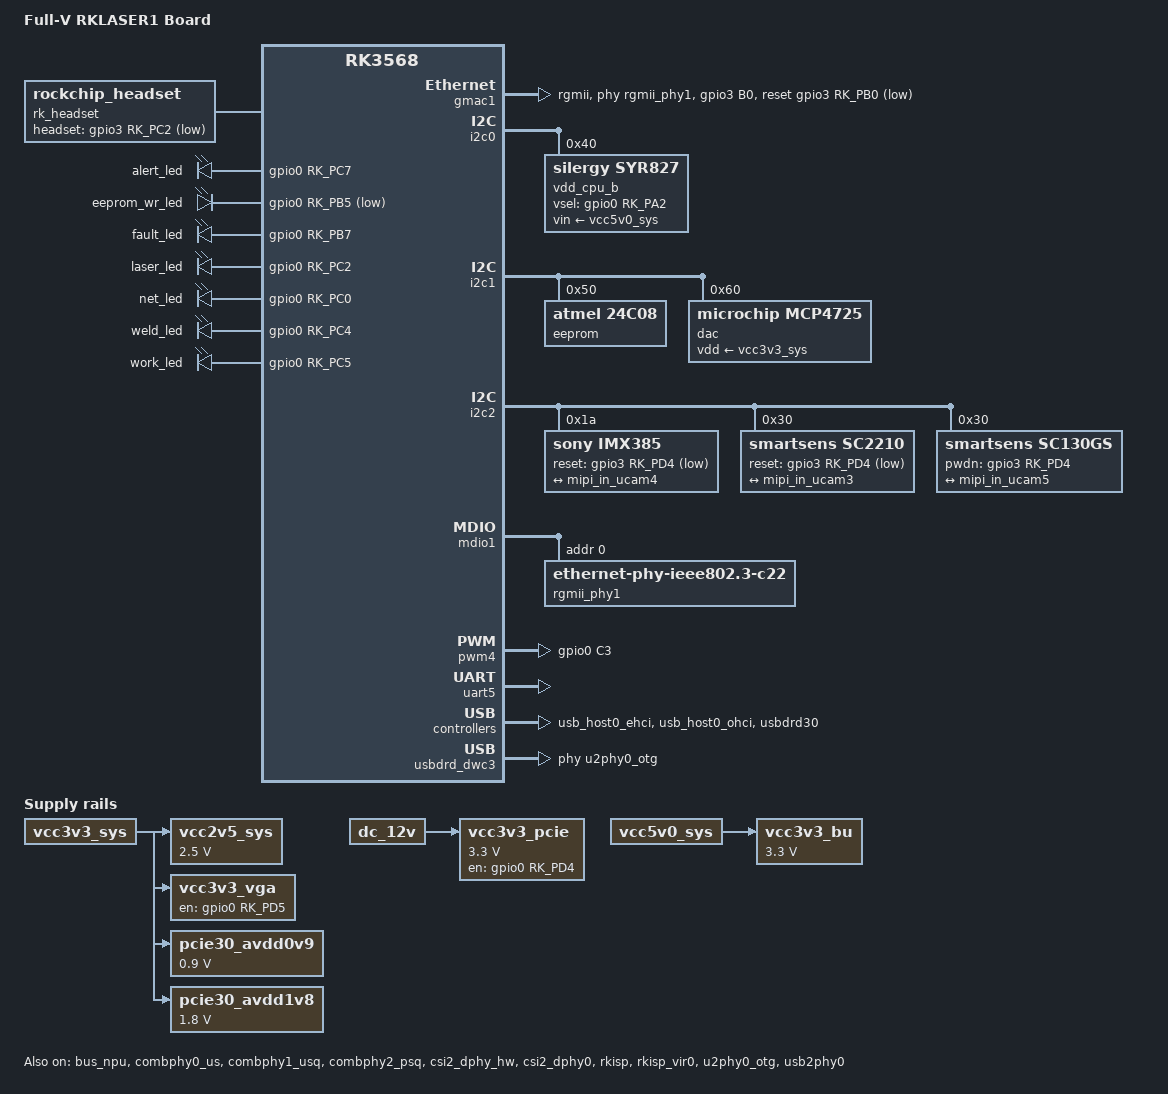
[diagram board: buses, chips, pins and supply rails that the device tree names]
// SPDX-License-Identifier: (GPL-2.0+ OR MIT)
/*
 * Copyright (c) 2020 Rockchip Electronics Co., Ltd.
 *
 */

/dts-v1/;

#include <dt-bindings/gpio/gpio.h>
#include <dt-bindings/pinctrl/rockchip.h>
#include "rk3568.dtsi"
#include "rk3568-evb.dtsi"

/ {
	model = "Full-V RKLASER1 Board";
	compatible = "fullv,rklaser1", "rockchip,rk3568-evb1-ddr4-v10", "rockchip,rk3568";

	rk_headset: rk-headset {
		compatible = "rockchip_headset";
		headset_gpio = <&gpio3 RK_PC2 GPIO_ACTIVE_LOW>;
		pinctrl-names = "default";
		pinctrl-0 = <&hp_det>;
	};

	vcc2v5_sys: vcc2v5-ddr {
		compatible = "regulator-fixed";
		regulator-name = "vcc2v5-sys";
		regulator-always-on;
		regulator-boot-on;
		regulator-min-microvolt = <2500000>;
		regulator-max-microvolt = <2500000>;
		vin-supply = <&vcc3v3_sys>;
	};

	vcc3v3_vga: vcc3v3-vga {
		compatible = "regulator-fixed";
		regulator-name = "vcc3v3_vga";
		regulator-always-on;
		regulator-boot-on;
		gpio = <&gpio0 RK_PD5 GPIO_ACTIVE_HIGH>;
		enable-active-high;
		vin-supply = <&vcc3v3_sys>;
	};

	pcie30_avdd0v9: pcie30-avdd0v9 {
		compatible = "regulator-fixed";
		regulator-name = "pcie30_avdd0v9";
		regulator-always-on;
		regulator-boot-on;
		regulator-min-microvolt = <900000>;
		regulator-max-microvolt = <900000>;
		vin-supply = <&vcc3v3_sys>;
	};

	pcie30_avdd1v8: pcie30-avdd1v8 {
		compatible = "regulator-fixed";
		regulator-name = "pcie30_avdd1v8";
		regulator-always-on;
		regulator-boot-on;
		regulator-min-microvolt = <1800000>;
		regulator-max-microvolt = <1800000>;
		vin-supply = <&vcc3v3_sys>;
	};

	vcc3v3_pcie: gpio-regulator {
		compatible = "regulator-fixed";
		regulator-name = "vcc3v3_pcie";
		regulator-min-microvolt = <3300000>;
		regulator-max-microvolt = <3300000>;
		enable-active-high;
		gpio = <&gpio0 RK_PD4 GPIO_ACTIVE_HIGH>;
		startup-delay-us = <5000>;
		vin-supply = <&dc_12v>;
	};

	vcc3v3_bu: vcc3v3-bu {
		compatible = "regulator-fixed";
		regulator-name = "vcc3v3_bu";
		regulator-always-on;
		regulator-boot-on;
		regulator-min-microvolt = <3300000>;
		regulator-max-microvolt = <3300000>;
		vin-supply = <&vcc5v0_sys>;
	};

	/delete-node/ vcc3v3-lcd0-n;
	/delete-node/ vcc3v3-lcd1-n;

	leds: leds {
		compatible = "gpio-leds";

		alert_led: alert {
			gpios = <&gpio0 RK_PC7 GPIO_ACTIVE_HIGH>;
			default-state = "off";
		};

		eeprom_wr_led: eeprom_wr {
			gpios = <&gpio0 RK_PB5 GPIO_ACTIVE_LOW>;
			default-state = "off";
		};

		fault_led: fault {
			gpios = <&gpio0 RK_PB7 GPIO_ACTIVE_HIGH>;
			default-state = "off";
		};

		laser_led: laser {
			gpios = <&gpio0 RK_PC2 GPIO_ACTIVE_HIGH>;
			default-state = "off";
		};

		net_led: net {
			gpios = <&gpio0 RK_PC0 GPIO_ACTIVE_HIGH>;
			default-state = "off";
		};

		weld_led: weld {
			gpios = <&gpio0 RK_PC4 GPIO_ACTIVE_HIGH>;
			default-state = "off";
		};

		work_led: work {
			gpios = <&gpio0 RK_PC5 GPIO_ACTIVE_HIGH>;
			default-state = "off";
		};
	};
};

&adc_keys {
	status = "disabled";
};

&backlight {
	status = "disabled";
};

&backlight1 {
	status = "disabled";
};

&bus_npu {
	bus-supply = <&vdd_logic>;
	pvtm-supply = <&vdd_cpu_b>;
	status = "okay";
};

&combphy0_us {
	status = "okay";
};

&combphy1_usq {
	status = "okay";
};

&combphy2_psq {
	status = "okay";
};

&cpu0 {
	cpu-supply = <&vdd_cpu_b>;
};

&csi2_dphy_hw {
	status = "okay";
};

&csi2_dphy0 {
	status = "okay";

	ports {
		#address-cells = <1>;
		#size-cells = <0>;
		port@0 {
			reg = <0>;
			#address-cells = <1>;
			#size-cells = <0>;

			mipi_in_ucam0: endpoint@1 {
				reg = <1>;
				remote-endpoint = <&ucam_out0>;
				data-lanes = <1 2 3 4>;
			};
			mipi_in_ucam1: endpoint@2 {
				reg = <2>;
				remote-endpoint = <&gc8034_out>;
				data-lanes = <1 2 3 4>;
			};
			mipi_in_ucam2: endpoint@3 {
				reg = <3>;
				remote-endpoint = <&ov5695_out>;
				data-lanes = <1 2>;
			};
			mipi_in_ucam3: endpoint@4 {
				reg = <4>;
				remote-endpoint = <&sc2210_out>;
				data-lanes = <1 2 3 4>;
			};
			mipi_in_ucam4: endpoint@5 {
				reg = <5>;
				remote-endpoint = <&imx385_out>;
				data-lanes = <1 2 3 4>;
			};
			mipi_in_ucam5: endpoint@6 {
				reg = <6>;
				remote-endpoint = <&sc130gs_out>;
				data-lanes = <1 2 3 4>;
			};
		};
		port@1 {
			reg = <1>;
			#address-cells = <1>;
			#size-cells = <0>;

			csidphy_out: endpoint@0 {
				reg = <0>;
				remote-endpoint = <&isp0_in>;
			};
		};
	};
};

&dmc {
	status = "disabled";
};

/*
 * video_phy0 needs to be enabled
 * when dsi0 is enabled
 */
&dsi0 {
	status = "disabled";
};

&dsi0_in_vp0 {
	status = "disabled";
};

&dsi0_in_vp1 {
	status = "disabled";
};

&dsi0_panel {
	status = "disabled";
};

/*
 * video_phy1 needs to be enabled
 * when dsi1 is enabled
 */
&dsi1 {
	status = "disabled";
};

&dsi1_in_vp0 {
	status = "disabled";
};

&dsi1_in_vp1 {
	status = "disabled";
};

&dsi1_panel {
	status = "disabled";
};

&edp {
	hpd-gpios = <&gpio0 RK_PC2 GPIO_ACTIVE_HIGH>;
	status = "disabled";
};

&edp_phy {
	status = "disabled";
};

&edp_in_vp0 {
	status = "disabled";
};

&edp_in_vp1 {
	status = "disabled";
};

&gmac0 {
	phy-mode = "rgmii";
	clock_in_out = "output";

	snps,reset-gpio = <&gpio2 RK_PD3 GPIO_ACTIVE_LOW>;
	snps,reset-active-low;
	/* Reset time is 20ms, 100ms for rtl8211f */
	snps,reset-delays-us = <0 20000 100000>;

	assigned-clocks = <&cru SCLK_GMAC0_RX_TX>, <&cru SCLK_GMAC0>;
	assigned-clock-parents = <&cru SCLK_GMAC0_RGMII_SPEED>, <&cru CLK_MAC0_2TOP>;
	assigned-clock-rates = <0>, <125000000>;

	pinctrl-names = "default";
	pinctrl-0 = <&gmac0_miim
		     &gmac0_tx_bus2
		     &gmac0_rx_bus2
		     &gmac0_rgmii_clk
		     &gmac0_rgmii_bus>;

	tx_delay = <0x3c>;
	rx_delay = <0x2f>;

	phy-handle = <&rgmii_phy0>;
	status = "disabled";
};

&gmac1 {
	phy-mode = "rgmii";
	clock_in_out = "input";

	snps,reset-gpio = <&gpio3 RK_PB0 GPIO_ACTIVE_LOW>;
	snps,reset-active-low;
	/* Reset time is 20ms, 100ms for rtl8211f */
	snps,reset-delays-us = <0 20000 100000>;

	assigned-clocks = <&cru SCLK_GMAC1_RX_TX>, <&cru SCLK_GMAC1>, <&cru CLK_MAC1_OUT>;
	assigned-clock-parents = <&cru SCLK_GMAC1_RGMII_SPEED>, <&cru CLK_MAC1_2TOP>;
	assigned-clock-rates = <0>, <125000000>, <25000000>;

	pinctrl-names = "default";
	pinctrl-0 = <&gmac1m1_miim
		     &gmac1m1_tx_bus2
		     &gmac1m1_rx_bus2
		     &gmac1m1_rgmii_clk
		     &gmac1m1_rgmii_bus
		     &gmac1m1_phy_rst
		     &eth1m1_pins>;

	tx_delay = <0x43>;
	rx_delay = <0x26>;

	phy-handle = <&rgmii_phy1>;
	status = "okay";
};

&i2c0 {
	status = "okay";

	vdd_cpu_b: syr837@40 {
		compatible = "silergy,syr827";
		reg = <0x40>;
		vin-supply = <&vcc5v0_sys>;
		regulator-compatible = "fan53555-reg";
		pinctrl-0 = <&vsel1_gpio>;
		vsel-gpios = <&gpio0 RK_PA2 GPIO_ACTIVE_HIGH>;
		regulator-name = "vdd_cpu_b";
		regulator-min-microvolt = <712500>;
		regulator-max-microvolt = <1500000>;
		regulator-ramp-delay = <1000>;
		fcs,suspend-voltage-selector = <1>;
		regulator-always-on;
		regulator-boot-on;
		regulator-initial-state = <3>;
		regulator-state-mem {
			regulator-off-in-suspend;
		};
	};
};

&i2c1 {
	status = "okay";

	/delete-node/ gt1x@14;

	eeprom@50 {
		compatible = "atmel,24c08";
		reg = <0x50>;
		pagesize = <16>;
	};

	dac@60 {
		compatible = "microchip,mcp4725";
		reg = <0x60>;
		vdd-supply = <&vcc3v3_sys>;
	};
};

&i2c2 {
	status = "okay";
	pinctrl-names = "default";
	pinctrl-0 = <&i2c2m1_xfer>;

	imx385: imx385@1a {
		status = "okay";
		compatible = "sony,imx385";
		reg = <0x1a>;
		clocks = <&cru CLK_CIF_OUT>;
		clock-names = "xvclk";
		power-domains = <&power RK3568_PD_VI>;
		pinctrl-names = "default";
		pinctrl-0 = <&cif_clk>;
		reset-gpios = <&gpio3 RK_PD4 GPIO_ACTIVE_LOW>;
		/*pwdn-gpios = <&gpio4 RK_PB4 GPIO_ACTIVE_HIGH>;*/
		rockchip,camera-module-index = <0>;
		rockchip,camera-module-facing = "back";
		rockchip,camera-module-name = "FV-IMX385";
		rockchip,camera-module-lens-name = "FIXED";
		port {
			imx385_out: endpoint {
				remote-endpoint = <&mipi_in_ucam4>;
				data-lanes = <1 2 3 4>;
			};
		};
	};

	sc2210: sc2210@30 {
		status = "okay";
		compatible = "smartsens,sc2210";
		reg = <0x30>;
		clocks = <&cru CLK_CIF_OUT>;
		clock-names = "xvclk";
		power-domains = <&power RK3568_PD_VI>;
		pinctrl-names = "default";
		pinctrl-0 = <&cif_clk>;
		reset-gpios = <&gpio3 RK_PD4 GPIO_ACTIVE_LOW>;
		/*pwdn-gpios = <&gpio4 RK_PB4 GPIO_ACTIVE_HIGH>;*/
		rockchip,camera-module-index = <0>;
		rockchip,camera-module-facing = "back";
		rockchip,camera-module-name = "FV-SC2210";
		rockchip,camera-module-lens-name = "FIXED";
		// NO_HDR:0 HDR_X2:5 HDR_X3:6
		rockchip,camera-hdr-mode = <5>;
		port {
			sc2210_out: endpoint {
				remote-endpoint = <&mipi_in_ucam3>;
				data-lanes = <1 2 3 4>;
			};
		};
	};

	sc130gs: sc130gs@30 {
		status = "okay";
		compatible = "smartsens,sc130gs";
		reg = <0x30>;
		clocks = <&cru CLK_CIF_OUT>;
		clock-names = "xvclk";
		power-domains = <&power RK3568_PD_VI>;
		pinctrl-names = "default";
		pinctrl-0 = <&cif_clk>;
		/*reset-gpios = <&gpio3 RK_PD4 GPIO_ACTIVE_LOW>;*/
		pwdn-gpios = <&gpio3 RK_PD4 GPIO_ACTIVE_HIGH>;
		rockchip,camera-module-index = <0>;
		rockchip,camera-module-facing = "back";
		rockchip,camera-module-name = "FV-SC130GS";
		rockchip,camera-module-lens-name = "FIXED";
		// NO_HDR:0 HDR_X2:5 HDR_X3:6
		rockchip,camera-hdr-mode = <0>;
		port {
			sc130gs_out: endpoint {
				remote-endpoint = <&mipi_in_ucam5>;
				data-lanes = <1 2 3 4>;
			};
		};
	};
};

&i2c4 {
	status = "disabled";
	gc8034: gc8034@37 {
		compatible = "galaxycore,gc8034";
		status = "okay";
		reg = <0x37>;
		clocks = <&cru CLK_CIF_OUT>;
		clock-names = "xvclk";
		pinctrl-names = "default";
		pinctrl-0 = <&cif_clk>;
		reset-gpios = <&gpio3 RK_PB6 GPIO_ACTIVE_LOW>;
		pwdn-gpios = <&gpio4 RK_PB4 GPIO_ACTIVE_LOW>;
		rockchip,grf = <&grf>;
		power-domains = <&power RK3568_PD_VI>;
		rockchip,camera-module-index = <0>;
		rockchip,camera-module-facing = "back";
		rockchip,camera-module-name = "RK-CMK-8M-2-v1";
		rockchip,camera-module-lens-name = "CK8401";
		port {
			gc8034_out: endpoint {
				remote-endpoint = <&mipi_in_ucam1>;
				data-lanes = <1 2 3 4>;
			};
		};
	};
	os04a10: os04a10@36 {
		compatible = "ovti,os04a10";
		reg = <0x36>;
		clocks = <&cru CLK_CIF_OUT>;
		clock-names = "xvclk";
		power-domains = <&power RK3568_PD_VI>;
		pinctrl-names = "default";
		pinctrl-0 = <&cif_clk>;
		reset-gpios = <&gpio3 RK_PB6 GPIO_ACTIVE_LOW>;
		pwdn-gpios = <&gpio4 RK_PB4 GPIO_ACTIVE_HIGH>;
		rockchip,camera-module-index = <0>;
		rockchip,camera-module-facing = "back";
		rockchip,camera-module-name = "CMK-OT1607-FV1";
		rockchip,camera-module-lens-name = "M12-40IRC-4MP-F16";
		port {
			ucam_out0: endpoint {
				remote-endpoint = <&mipi_in_ucam0>;
				data-lanes = <1 2 3 4>;
			};
		};
	};
	ov5695: ov5695@36 {
		status = "okay";
		compatible = "ovti,ov5695";
		reg = <0x36>;
		clocks = <&cru CLK_CIF_OUT>;
		clock-names = "xvclk";
		power-domains = <&power RK3568_PD_VI>;
		pinctrl-names = "default";
		pinctrl-0 = <&cif_clk>;
		reset-gpios = <&gpio3 RK_PB6 GPIO_ACTIVE_HIGH>;
		pwdn-gpios = <&gpio4 RK_PB4 GPIO_ACTIVE_HIGH>;
		rockchip,camera-module-index = <0>;
		rockchip,camera-module-facing = "back";
		rockchip,camera-module-name = "TongJu";
		rockchip,camera-module-lens-name = "CHT842-MD";
		port {
			ov5695_out: endpoint {
				remote-endpoint = <&mipi_in_ucam2>;
				data-lanes = <1 2>;
			};
		};
	};
};

&leds {
	status = "okay";
};

&mdio0 {
	status = "disabled";
	rgmii_phy0: phy@0 {
		compatible = "ethernet-phy-ieee802.3-c22";
		reg = <0x0>;
		clocks = <&cru CLK_MAC0_OUT>;
	};
};

&mdio1 {
	status = "okay";
	rgmii_phy1: phy@0 {
		compatible = "ethernet-phy-ieee802.3-c22";
		reg = <0x0>;
		clocks = <&cru CLK_MAC1_OUT>;
	};
};

&video_phy0 {
	status = "disabled";
};

&video_phy1 {
	status = "disabled";
};

&pcie30phy {
	status = "disabled";
};

&pcie3x2 {
	reset-gpios = <&gpio2 RK_PD6 GPIO_ACTIVE_HIGH>;
	vpcie3v3-supply = <&vcc3v3_pcie>;
	status = "disabled";
};

&pinctrl {
	/delete-node/ touch;

	cam {
		camera_pwr: camera-pwr {
			rockchip,pins =
				/* camera power en */
				<0 RK_PC1 RK_FUNC_GPIO &pcfg_pull_none>;
		};
	};

	gmac1m1_phy {
		gmac1m1_phy_rst: gmac1m1_phy_rst {
			rockchip,pins = <3 RK_PB0 RK_FUNC_GPIO &pcfg_pull_none>;
		};
	};

	headphone {
		hp_det: hp-det {
			rockchip,pins = <3 RK_PC2 RK_FUNC_GPIO &pcfg_pull_down>;
		};
	};

	pmic {
		vsel1_gpio: vsel1-gpio {
			rockchip,pins =
				<0 RK_PA2 RK_FUNC_GPIO &pcfg_pull_down>;
		};
	};

	pwm4 {
		/omit-if-no-ref/
		pwm4_pin_pull_down: pwm4-pin-pull-down {
			rockchip,pins =
				/* pwm4 */
				<0 RK_PC3 1 &pcfg_pull_down>;
		};
	};

	wireless-wlan {
		wifi_host_wake_irq: wifi-host-wake-irq {
			rockchip,pins = <3 RK_PD4 RK_FUNC_GPIO &pcfg_pull_down>;
		};
	};

	wireless-bluetooth {
		uart8_gpios: uart8-gpios {
			rockchip,pins = <2 RK_PB1 RK_FUNC_GPIO &pcfg_pull_none>;
		};
	};
};

&pmu_io_domains {
    vccio4-supply = <&vcc_1v8>;
    vccio6-supply = <&vcc_1v8>;
};

&pwm4 {
	status = "okay";
	pinctrl-names = "active";
	pinctrl-0 = <&pwm4_pin_pull_down>;
};

&pwm5 {
	status = "disabled";
};

&pwm7 {
	status = "disabled";
};

&rkisp {
	status = "okay";
};

&rkisp_mmu {
	status = "okay";
};

&rkisp_vir0 {
	status = "okay";

	port {
		#address-cells = <1>;
		#size-cells = <0>;

		isp0_in: endpoint@0 {
			reg = <0>;
			remote-endpoint = <&csidphy_out>;
		};
	};
};

&route_dsi0 {
	status = "disabled";
	connect = <&vp1_out_dsi0>;
};

&sata2 {
	status = "disabled";
};

&sdmmc0 {
	status = "disabled";
};

&sdmmc2 {
	max-frequency = <150000000>;
	supports-sdio;
	bus-width = <4>;
	disable-wp;
	cap-sd-highspeed;
	cap-sdio-irq;
	keep-power-in-suspend;
	mmc-pwrseq = <&sdio_pwrseq>;
	non-removable;
	pinctrl-names = "default";
	pinctrl-0 = <&sdmmc2m0_bus4 &sdmmc2m0_cmd &sdmmc2m0_clk>;
	sd-uhs-sdr104;
	status = "disabled";
};

&spdif_8ch {
	status = "disabled";
	pinctrl-names = "default";
	pinctrl-0 = <&spdifm1_tx>;
};

&uart0 {
	status = "disabled";
	pinctrl-names = "default";
	pinctrl-0 = <&uart0_xfer>;
};

&uart5 {
	status = "okay";
	pinctrl-names = "default";
	pinctrl-0 = <&uart5m0_xfer>;
};

&uart8 {
	status = "disabled";
	pinctrl-names = "default";
	pinctrl-0 = <&uart8m0_xfer &uart8m0_ctsn>;
};

&u2phy0_host {
	status = "disabled";
};

&u2phy0_otg {
	status = "okay";
};

&usb2phy0 {
	status = "okay";
};

&usb2phy1 {
	status = "disabled";
};

&usb_host0_ehci {
	status = "okay";
};

&usb_host0_ohci {
	status = "okay";
};

&usb_host1_ehci {
	status = "disabled";
};

&usb_host1_ohci {
	status = "disabled";
};

&usbdrd_dwc3 {
	phys = <&u2phy0_otg>;
	phy-names = "usb2-phy";
	extcon = <&usb2phy0>;
	maximum-speed = "high-speed";
	snps,dis_u2_susphy_quirk;
	status = "okay";
};

&combphy0_us {
	rockchip,dis-u3otg0-port;
	status = "okay";
};

&usbdrd30 {
	status = "okay";
};

&usbhost_dwc3 {
	status = "disabled";
};

&usbhost30 {
	status = "disabled";
};

&wireless_wlan {
	pinctrl-names = "default";
	pinctrl-0 = <&wifi_host_wake_irq>;
	WIFI,host_wake_irq = <&gpio3 RK_PD4 GPIO_ACTIVE_HIGH>;
	status = "disabled";
};

&wireless_bluetooth {
	compatible = "bluetooth-platdata";
	clocks = <&rk809 1>;
	clock-names = "ext_clock";
	//wifi-bt-power-toggle;
	uart_rts_gpios = <&gpio2 RK_PB1 GPIO_ACTIVE_LOW>;
	pinctrl-names = "default", "rts_gpio";
	pinctrl-0 = <&uart8m0_rtsn>;
	pinctrl-1 = <&uart8_gpios>;
	BT,reset_gpio    = <&gpio3 RK_PA0 GPIO_ACTIVE_HIGH>;
	BT,wake_gpio     = <&gpio3 RK_PA2 GPIO_ACTIVE_HIGH>;
	BT,wake_host_irq = <&gpio3 RK_PA1 GPIO_ACTIVE_HIGH>;
	status = "disabled";
};
